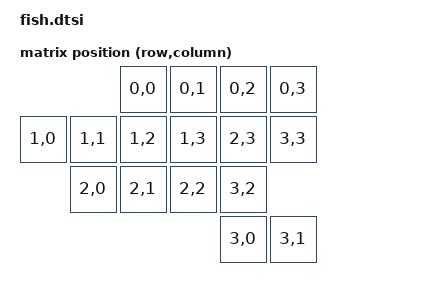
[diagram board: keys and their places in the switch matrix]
#include <dt-bindings/zmk/matrix_transform.h>
#include "fish-layouts.dtsi"

/ {
    chosen {
        // zmk,kscan = &kscan0;
        // zmk,matrix_transform = &default_transform;
        zmk,physical-layout = &physical_layout0;
    };

    default_transform: keymap_transform_0 {
        compatible = "zmk,matrix-transform";
        rows = <4>;
        columns = <4>;
        map = <
                            RC(0,0) RC(0,1) RC(0,2) RC(0,3)
            RC(1,0) RC(1,1) RC(1,2) RC(1,3) RC(2,3) RC(3,3)
                    RC(2,0) RC(2,1) RC(2,2) RC(3,2)
                                            RC(3,0) RC(3,1)
        >;
    };

    kscan0: kscan_0 {
        compatible = "zmk,kscan-gpio-matrix";
        label = "KSCAN";
        diode-direction = "row2col";
    };

};

&physical_layout0 {
    kscan = <&kscan0>;
    transform = <&default_transform>;
};
